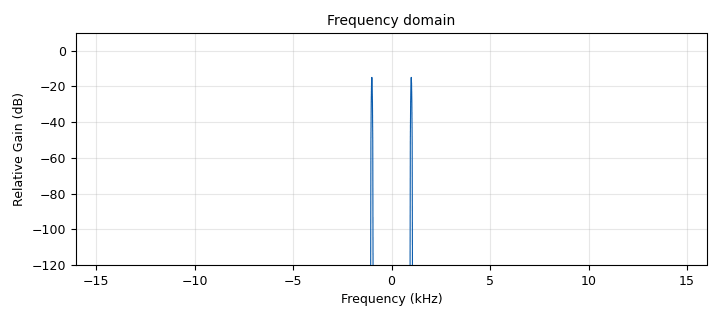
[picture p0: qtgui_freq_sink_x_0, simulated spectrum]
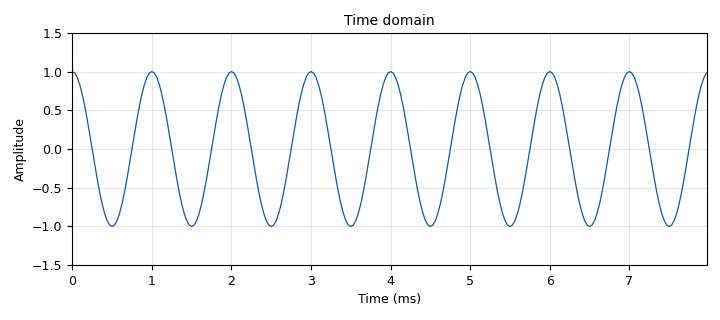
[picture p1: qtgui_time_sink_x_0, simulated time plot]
options:
  parameters:
    author: GNU Radio Intro Workshop
    description: Signal Source -> Throttle -> time and frequency displays
    generate_options: qt_gui
    generator_class_name: PythonQtGuiGenerator
    generator_module: gnuradio.grc.workflows.python_qt_gui
    id: first_flowgraph
    output_language: python
    title: My First Flowgraph
  states: {}

blocks:
- name: freq
  id: variable_qtgui_range
  parameters:
    gui_hint: 0,0,1,1
    label: Frequency (Hz)
    start: '0'
    step: '100'
    stop: '16000'
    value: '1000'
  states: {}
- name: samp_rate
  id: variable
  parameters:
    value: '32000'
  states: {}
- name: analog_sig_source_x_0
  id: analog_sig_source_x
  parameters:
    amp: '1'
    freq: freq
    offset: '0'
    phase: '0'
    samp_rate: samp_rate
    type: float
    waveform: analog.GR_COS_WAVE
  states: {}
- name: blocks_throttle2_0
  id: blocks_throttle2
  parameters:
    samples_per_second: samp_rate
    type: float
  states: {}
- name: qtgui_freq_sink_x_0
  id: qtgui_freq_sink_x
  parameters:
    bw: samp_rate
    fc: '0'
    fftsize: '2048'
    gui_hint: 2,0,1,1
    name: '"Frequency domain"'
    type: float
    ymin: '-120'
  states: {}
- name: qtgui_time_sink_x_0
  id: qtgui_time_sink_x
  parameters:
    gui_hint: 1,0,1,1
    name: '"Time domain"'
    size: '256'
    srate: samp_rate
    type: float
    ymax: '1.5'
    ymin: '-1.5'
  states: {}

connections:
- [analog_sig_source_x_0, '0', blocks_throttle2_0, '0']
- [blocks_throttle2_0, '0', qtgui_freq_sink_x_0, '0']
- [blocks_throttle2_0, '0', qtgui_time_sink_x_0, '0']

metadata:
  file_format: 1
  grc_version: v3.11.0.0git-1029-g3c48f5e2
